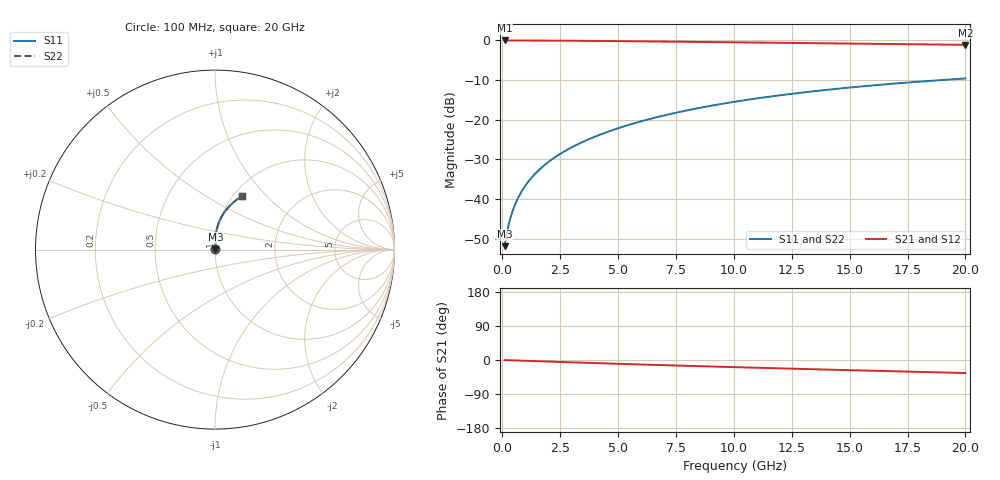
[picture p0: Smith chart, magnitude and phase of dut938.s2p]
! Touchstone file exported from HFSS 2024.1.0
!  File:  C:/UserFiles/LocalFiles/RDL_TSV_Batchsim/temp_RDL_top_938_1779937387.aedt
!  Generated:  11:06:09 AM May 28, 2026
!  Design:  RDL_top
!  Project:  temp_RDL_top_938_1779937387
!  Setup:  Setup1
!  Solution:  Sweep
! Variables:
!  dtsv = 10.80580581um
!  hbump = 3um
!  htsv = 64.51um
!  ldown = 100um
!  lrdl = 458.16um
!  p = 40
!  p1 = 58.1um
!  rhole = 1um
!  t = 450um
!  tdown = 3.915915916um
!  trdl = 3.63um
!  wdown = 15.38538539um
!  wrdl = 25.35um
# GHz S MA R 50.000000
! Terminal data exported
! Port[1] = Box2_T1
! Port[2] = Box2_T2
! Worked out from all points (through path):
!   200 points, 100 MHz to 20 GHz, reference 50 ohm
!   highest |S21| = -0.02 dB at 100 MHz (marker M1); lowest = -1.1 dB at 20 GHz (marker M2)
!   group delay of S21, straight-line fit = 4.72 ps
!   lowest |S11| = -51.9 dB at 100 MHz (marker M3), VSWR 1.01, Z = 50.2 + j0.161 ohm
!   |S11| at or under -10 dB: start of sweep to 18.96 GHz
!   |S22| runs from -51.9 to -9.6 dB; largest |S21 - S12| = 2.6e-15
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0.1  0.002553 39.0  0.998 -0.2  0.998 -0.2  0.002553 39.0
! Gamma 0 0 0 0
! Port Impedance 50 0 50 0
0.2  0.003773 56.3  0.9979 -0.4  0.9979 -0.4  0.003773 56.3
0.3  0.005102 64.5  0.9977 -0.6  0.9977 -0.6  0.005102 64.5
0.4  0.006452 69.5  0.9976 -0.9  0.9976 -0.9  0.006452 69.5
0.5  0.007816 72.8  0.9974 -1.1  0.9974 -1.1  0.007816 72.8
0.6  0.009195 75.3  0.9973 -1.3  0.9973 -1.3  0.009195 75.3
0.8  0.01199 78.7  0.997 -1.7  0.997 -1.7  0.01199 78.7
1.1  0.01626 81.8  0.9964 -2.3  0.9964 -2.3  0.01626 81.8
1.5  0.02208 84.2  0.9955 -3.1  0.9955 -3.1  0.02208 84.2
1.8  0.02652 85.3  0.9946 -3.8  0.9946 -3.8  0.02652 85.3
2.1  0.03103 86.1  0.9936 -4.4  0.9936 -4.4  0.03103 86.1
2.7  0.04025 87.1  0.9913 -5.6  0.9913 -5.6  0.04025 87.1
3.5  0.05299 87.6  0.9875 -7.2  0.9875 -7.2  0.05299 87.7
4.2  0.06454 87.7  0.9837 -8.5  0.9837 -8.5  0.06455 87.7
5  0.07816 87.3  0.979 -10.1  0.979 -10.1  0.07816 87.3
6.8  0.11 85.4  0.9675 -13.4  0.9675 -13.4  0.11 85.4
8.4  0.139 83.1  0.9569 -16.1  0.9569 -16.1  0.139 83.1
10.1  0.1698 80.3  0.9455 -19.0  0.9455 -19.0  0.1698 80.3
11.7  0.1983 77.5  0.9348 -21.6  0.9348 -21.6  0.1983 77.5
13.4  0.2278 74.5  0.9234 -24.4  0.9234 -24.4  0.2278 74.5
16.7  0.2819 68.7  0.9011 -29.5  0.9011 -29.5  0.2819 68.8
20  0.3313 63.3  0.8786 -34.4  0.8786 -34.4  0.3313 63.3
